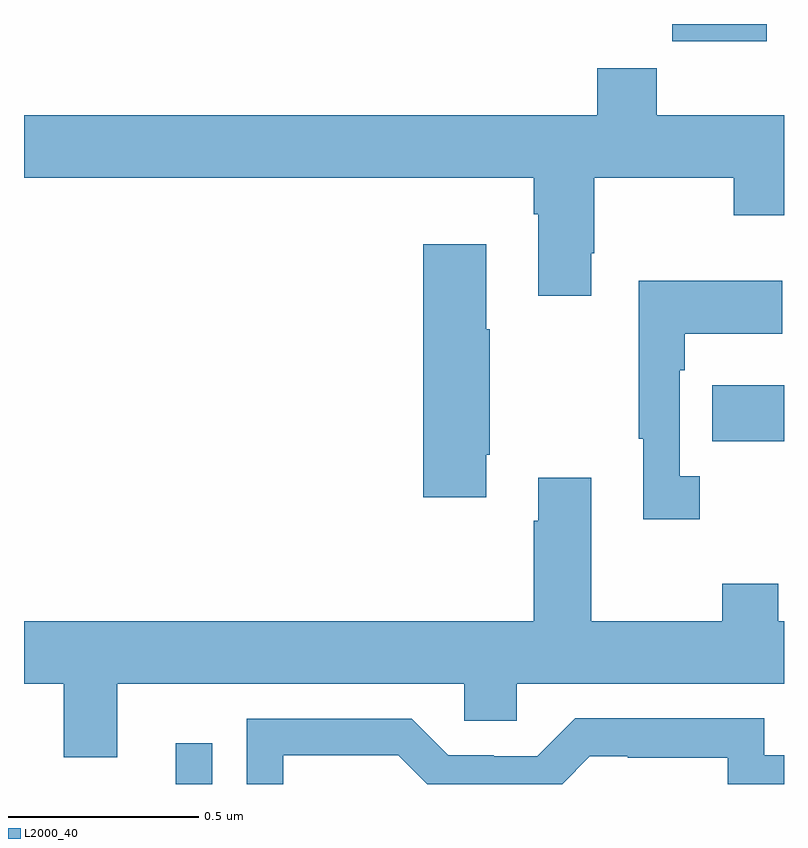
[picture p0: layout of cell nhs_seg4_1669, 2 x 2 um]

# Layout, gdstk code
import gdstk
lib = gdstk.Library(unit=1e-6, precision=1e-09)
def R(c, l, rs):  # rectangles x0, y0, x1, y1
    for r in rs: c.add(gdstk.rectangle(r[:2], r[2:], *l))
def P(c, l, *ps):  # polygons
    for p in ps: c.add(gdstk.Polygon(p, *l))
L2000_40 = (2000, 40)

nhs_seg4_1669 = lib.new_cell('nhs_seg4_1669')
R(nhs_seg4_1669, L2000_40, [(131.399,785.9,131.495,786.007), (132.811,786.802,133,786.949), (132.706,787.854,132.955,787.9)])
P(nhs_seg4_1669, L2000_40, [(132.493,787.297),(132.501,787.297),(132.501,787.496),(132.868,787.496),(132.868,787.397),(133,787.397),(133,787.66),(132.665,787.66),(132.665,787.784),(132.509,787.784),(132.509,787.66),(131,787.66),(131,787.496),(132.341,787.496),(132.341,787.4),(132.353,787.4),(132.353,787.185),(132.493,787.185)],
  [(132.217,786.766),(132.225,786.766),(132.225,787.097),(132.217,787.097),(132.217,787.321),(132.05,787.321),(132.05,786.654),(132.217,786.654)],
  [(132.778,786.71),(132.726,786.71),(132.726,786.989),(132.739,786.989),(132.739,787.085),(132.995,787.085),(132.995,787.225),(132.618,787.225),(132.618,786.809),(132.629,786.809),(132.629,786.597),(132.778,786.597)],
  [(131.245,786.164),(132.159,786.164),(132.159,786.066),(132.297,786.066),(132.297,786.164),(133,786.164),(133,786.328),(132.985,786.328),(132.985,786.427),(132.838,786.427),(132.838,786.328),(132.493,786.328),(132.493,786.706),(132.353,786.706),(132.353,786.593),(132.341,786.593),(132.341,786.328),(131,786.328),(131,786.164),(131.105,786.164),(131.105,785.97),(131.245,785.97)],
  [(131.682,785.976),(131.985,785.976),(132.061,785.9),(132.416,785.9),(132.489,785.973),(132.589,785.973),(132.589,785.969),(132.852,785.969),(132.852,785.9),(133,785.9),(133,785.976),(132.948,785.976),(132.948,786.073),(132.451,786.073),(132.351,785.973),(132.236,785.973),(132.236,785.976),(132.117,785.976),(132.021,786.072),(131.586,786.072),(131.586,785.9),(131.682,785.9)])

lib.write_gds('nhs_seg4_1669.gds')
